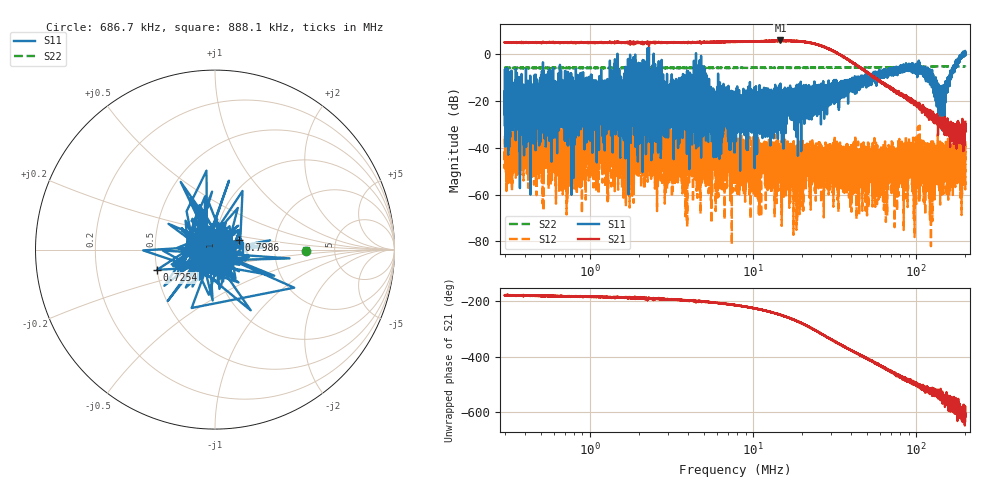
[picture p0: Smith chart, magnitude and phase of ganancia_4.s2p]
# Hz S DB R 50
! CMT, M5065, 19127446, 24.2.4/2
! Date: 11/1/2024 4:16:07 PM
! Data: Format (Calibration Info)
! Freq	S11:dB/Ang(F2)	S21:dB/Ang(F2)	S12:dB/Ang(F2)	S22:dB/Ang(F2)
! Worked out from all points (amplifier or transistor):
!   9000 points, 300 kHz to 200 MHz, reference 50 ohm
!   highest |S21| = 5.9 dB at 14.71 MHz (marker M1)
!   |S21| within 3 dB of that: start of sweep to 27.64 MHz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
!   unconditionally stable (mu >= 1): start of sweep to 1.474 MHz; 2.459 MHz to 4.466 MHz; 4.47 MHz to 190.2 MHz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
!   at 886.8 kHz: K = 51.00, MAG = 6.2 dB, |S12| = -47.7 dB
!   at 7.749 MHz: K = 57.06, MAG = 6.7 dB, |S12| = -49.2 dB
!   at 200 MHz: K = -52.41, MSG = 4.1 dB, |S12| = -37.2 dB
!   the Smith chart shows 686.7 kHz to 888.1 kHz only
!   S11 on the Smith chart (normalised r, x): 686.7 kHz: 0.85, +0.02; 725.4 kHz: 0.50, -0.13; 798.6 kHz: 1.30, +0.14; 888.1 kHz: 0.98, -0.09
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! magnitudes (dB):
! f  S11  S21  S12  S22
! 300 kHz  -15.9  5.0  -41.6  -5.9
! 382.2 kHz  -21.6  5.0  -39.8  -5.9
! 686.7 kHz  -21.4  5.0  -42.3  -5.9
! 725.4 kHz  -9.3  5.2  -63.3  -5.9
! 798.6 kHz  -16.9  4.9  -42.9  -5.9
! 886.8 kHz  -24.4  4.9  -47.7  -5.8
! 888.1 kHz  -26.6  5.0  -51.0  -5.9
! 1.182 MHz  -23.2  5.0  -45.1  -5.9
! 1.264 MHz  -16.7  5.0  -48.9  -5.9
! 1.807 MHz  -23.0  4.9  -46.6  -5.9
! 2.292 MHz  -13.5  4.9  -40.7  -5.9
! 2.621 MHz  -21.4  4.9  -38.9  -5.8
! 4.673 MHz  -21.7  4.9  -36.8  -5.9
! 7.749 MHz  -20.4  5.4  -49.2  -5.9
! 14.71 MHz  -12.6  5.9  -40.4  -5.8
! 22.91 MHz  -21.2  4.6  -37.6  -5.9
! 67.71 MHz  -5.9  -13.9  -38.8  -5.6
! 105.7 MHz  -6.2  -22.8  -48.6  -5.4
! 123.2 MHz  -10.6  -26.2  -45.0  -5.3
! 141.9 MHz  -19.2  -29.2  -45.7  -5.2
! 191.4 MHz  -0.3  -34.7  -38.0  -5.3
! 200 MHz  0.3  -28.9  -37.2  -5.3
